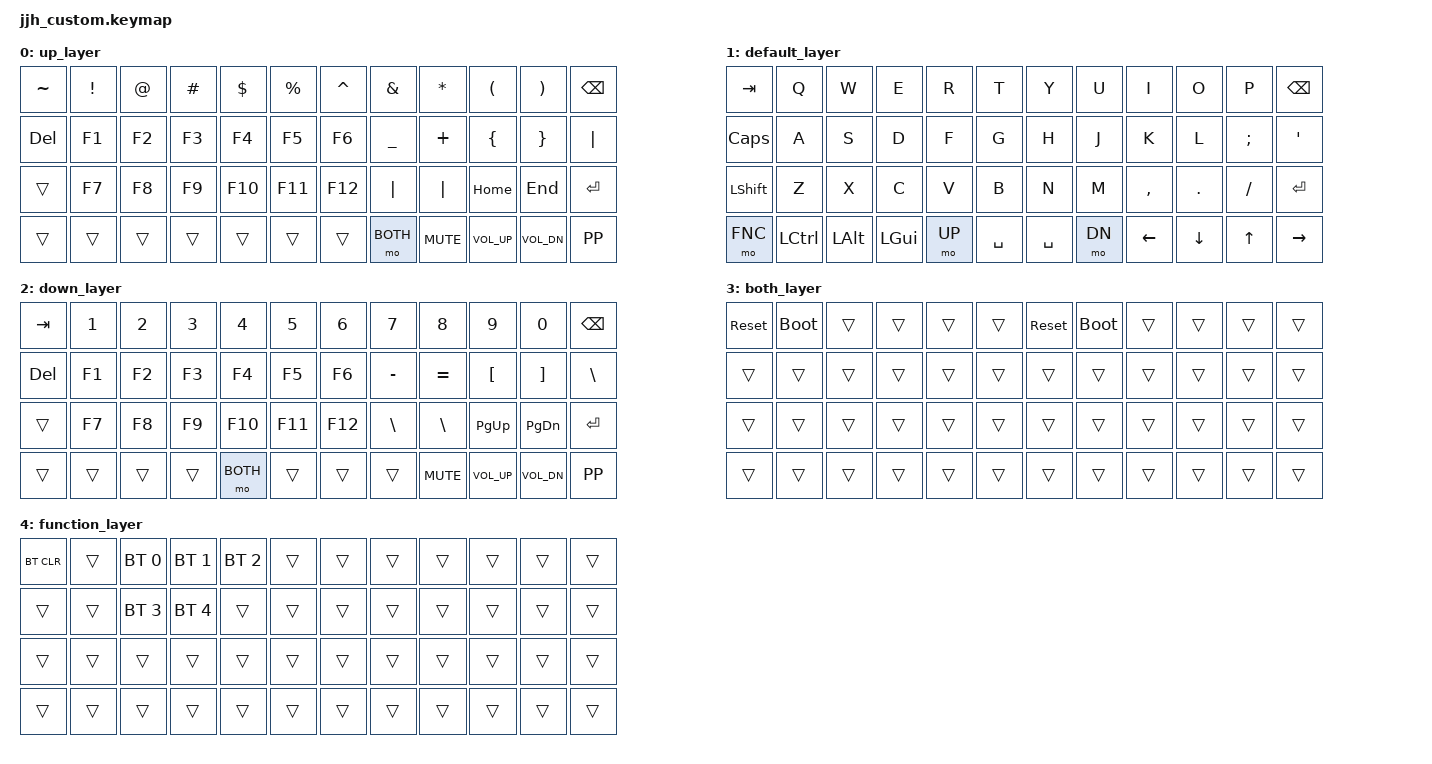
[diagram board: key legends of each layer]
/*
 * Copyright (c) 2023 The ZMK Contributors
 *
 * SPDX-License-Identifier: MIT
 */

#include <behaviors.dtsi>
#include <dt-bindings/zmk/bt.h>
#include <dt-bindings/zmk/keys.h>

#define UP  0
#define DEFAULT 1
#define DOWN    2
#define BOTH    3
#define FNC 4

/* Uncomment this block if using RGB
&led_strip {
    chain-length = <6>;
    // chain-length = <31>; // Uncomment if using both per-key and underglow LEDs
    // chain-length = <25>; // Uncomment if using only per-key LEDs.
};
 */

/ {
    keymap {
        compatible = "zmk,keymap";

        up_layer {
            // -------------------------------------------------------------       -------------------------------------------------------------
            // |    ~    |    !    |    @    |    #    |    $    |    %    |       |    ^    |    &    |    *    |    (    |    )    |  BACK   |
            // |   DEL   |   F1    |   F2    |   F3    |   F4    |   F5    |       |   F6    |    _    |    +    |    {    |    }    |    |    |
            // |         |   F7    |   F8    |   F9    |   F10   |   F11   |       |   F12   |    |    |    |    |   HOME  |   END   |  ENTER  |
            // |         |         |         |         |         |         |       |         |BOTH_LAYR|  MUTE   |   VOL-  |  VOL+   |  PLAY   |
            // -------------------------------------------------------------       -------------------------------------------------------------

            bindings = <
            &kp TILDE &kp EXCL &kp AT &kp HASH &kp DOLLAR &kp PRCNT    &kp CARET &kp AMPERSAND &kp ASTRK  &kp LPAR     &kp RPAR     &kp BSPC
            &kp DEL   &kp F1   &kp F2 &kp F3   &kp F4     &kp F5       &kp F6    &kp UNDER     &kp PLUS   &kp LBRC     &kp RBRC     &kp PIPE
            &trans    &kp F7   &kp F8 &kp F9   &kp F10    &kp F11      &kp F12   &kp PIPE      &kp PIPE   &kp HOME     &kp END      &kp ENTER
            &trans    &trans   &trans &trans   &trans     &trans       &trans    &mo BOTH      &kp K_MUTE &kp K_VOL_UP &kp K_VOL_DN &kp K_PP
            >;
        };

        default_layer {
            // -------------------------------------------------------------       -------------------------------------------------------------
            // |   TAB   |    Q    |    W    |    E    |    R    |    T    |       |    Y    |    U    |    I    |    O    |    P    |  BACK   |
            // |   CAPL  |    A    |    S    |    D    |    F    |    G    |       |    H    |    J    |    K    |    L    |    ;    |    '    |
            // |  SHIFT  |    Z    |    X    |    C    |    V    |    B    |       |    N    |    M    |    ,    |    .    |    /    |  ENTER  |
            // |   FN    |   CTRL  |   OPT   |  L CMD  | UP_LAYER|  SPACE  |       |  SPACE  | DN_LAYER|   LEFT  |   DOWN  |    UP   |  RIGHT  |
            // -------------------------------------------------------------       -------------------------------------------------------------

            bindings = <
            &kp TAB    &kp Q      &kp W    &kp E    &kp R  &kp T        &kp Y      &kp U  &kp I     &kp O    &kp P     &kp BSPC
            &kp CAPS   &kp A      &kp S    &kp D    &kp F  &kp G        &kp H      &kp J  &kp K     &kp L    &kp SEMI  &kp SQT
            &kp LSHFT  &kp Z      &kp X    &kp C    &kp V  &kp B        &kp N      &kp M  &kp COMMA &kp DOT  &kp SLASH &kp ENTER
            &mo FNC    &kp LCTRL  &kp LALT &kp LGUI &mo UP &kp SPACE    &kp SPACE  &mo DN &kp LEFT  &kp DOWN &kp UP    &kp RIGHT
            >;
        };

        down_layer {
            // -------------------------------------------------------------       -------------------------------------------------------------
            // |    `    |    1    |    2    |    3    |    4    |    5    |       |    6    |    7    |    8    |    9    |    0    |  BACK   |
            // |   DEL   |   F1    |   F2    |   F3    |   F4    |   F5    |       |   F6    |    -    |    =    |    [    |    ]    |    \    |
            // |         |   F7    |   F8    |   F9    |   F10   |   F11   |       |   F12   |    \    |    \    |   PGUP  |   PGDN  |  ENTER  |
            // |         |         |         |         |BOTH_LAYR|         |       |         |         |  MUTE   |   VOL-  |  VOL+   |  PLAY   |
            // -------------------------------------------------------------       -------------------------------------------------------------

            bindings = <
            &kp TAB &kp N1 &kp N2 &kp N3 &kp N4   &kp N5     &kp N6  &kp N7    &kp N8     &kp N9       &kp N0       &kp BSPC
            &kp DEL &kp F1 &kp F2 &kp F3 &kp F4   &kp F5     &kp F6  &kp MINUS &kp EQUAL  &kp LBKT     &kp RBKT     &kp BSLH
            &trans  &kp F7 &kp F8 &kp F9 &kp F10  &kp F11    &kp F12 &kp BSLH  &kp BSLH   &kp PG_UP    &kp PG_DN    &kp ENTER
            &trans  &trans &trans &trans &mo BOTH &trans     &trans  &trans    &kp K_MUTE &kp K_VOL_UP &kp K_VOL_DN &kp K_PP
            >;
        };

        both_layer {
            // -------------------------------------------------------------       -------------------------------------------------------------
            // |  RESET  |  FLASH  |         |         |         |         |       |  RESET  |  FLASH  |         |         |         |   DEL   |
            // |         |         |         |         |         |         |       |         |         |         |         |         |         |
            // |         |         |         |         |         |         |       |         |         |         |         |         |         |
            // |         |         |         |         |         |         |       |         |         |         |         |         |         |
            // -------------------------------------------------------------       -------------------------------------------------------------

            bindings = <
            &sys_reset &bootloader &trans &trans &trans &trans    &sys_reset &bootloader &trans &trans &trans &trans
            &trans     &trans      &trans &trans &trans &trans    &trans     &trans      &trans &trans &trans &trans
            &trans     &trans      &trans &trans &trans &trans    &trans     &trans      &trans &trans &trans &trans
            &trans     &trans      &trans &trans &trans &trans    &trans     &trans      &trans &trans &trans &trans
            >;
        };

        function_layer {
            // -------------------------------------------------------------       -------------------------------------------------------------
            // |  BT_CLR |         |  BT_0   |  BT_1   |  BT_2   |         |       |         |         |         |         |         |         |
            // |         |         |  BT_3   |  BT_4   |         |         |       |         |         |         |         |         |         |
            // |         |         |         |         |         |         |       |         |         |         |         |         |         |
            // |         |         |         |         |         |         |       |         |         |         |         |         |         |
            // -------------------------------------------------------------       -------------------------------------------------------------

            bindings = <
            &bt BT_CLR &trans &bt BT_SEL 0 &bt BT_SEL 1 &bt BT_SEL 2 &trans    &trans &trans &trans &trans &trans &trans
            &trans     &trans &bt BT_SEL 3 &bt BT_SEL 4 &trans       &trans    &trans &trans &trans &trans &trans &trans
            &trans     &trans &trans       &trans       &trans       &trans    &trans &trans &trans &trans &trans &trans
            &trans     &trans &trans       &trans       &trans       &trans    &trans &trans &trans &trans &trans &trans
            >;
        };
    };
};
